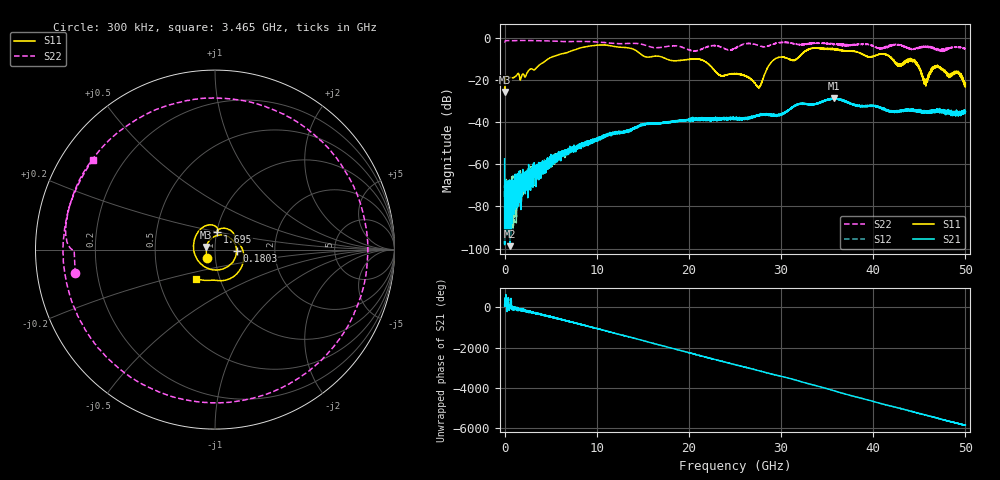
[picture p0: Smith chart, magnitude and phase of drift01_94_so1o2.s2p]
!Created with skrf (http://scikit-rf.org).
# Hz S RI R 50.0
!freq ReS11 ImS11 ReS21 ImS21 ReS12 ImS12 ReS22 ImS22
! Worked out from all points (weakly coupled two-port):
!   10001 points, 300 kHz to 50 GHz, reference 50 ohm
!   highest |S21| = -28.73 dB at 35.74 GHz (marker M1); lowest = -98.8 dB at 570.3 MHz (marker M2)
!   lowest |S11| = -25.8 dB at 5.3 MHz (marker M3), VSWR 1.11, Z = 45.3 + j1.39 ohm
!   |S11| at or under -10 dB: start of sweep to 4.771 GHz; 17.52 GHz to 29.39 GHz (11.87 GHz wide, 50.6 % of centre); 44.03 GHz to end of sweep (the widest 3 of 12)
!   |S22| runs from -6.6 to -1.4 dB; largest |S21 - S12| = 0.0041
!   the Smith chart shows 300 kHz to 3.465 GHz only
!   S11 on the Smith chart (normalised r, x): 300 kHz: 0.91, -0.08; 180.3 MHz: 1.27, -0.01; 1.695 GHz: 1.00, +0.20; 3.465 GHz: 0.77, -0.26
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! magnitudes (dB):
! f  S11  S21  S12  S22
! 300 kHz  -23.8  -57.4  -75.4  -2.0
! 5.3 MHz  -25.8  -98.1  -70.1  -2.1
! 180.3 MHz  -18.4  -69.9  -75.5  -1.4
! 570.3 MHz  -18.8  -98.8  -73.0  -1.4
! 1.695 GHz  -20.1  -66.3  -63.1  -1.4
! 3.465 GHz  -14.3  -62.8  -63.6  -1.5
! 8.335 GHz  -4.8  -51.2  -51.2  -1.8
! 16.67 GHz  -8.8  -40.3  -40.6  -4.8
! 21.2 GHz  -10.3  -39.2  -38.9  -5.8
! 23.39 GHz  -17.9  -38.5  -37.9  -4.4
! 25 GHz  -17.1  -38.0  -38.2  -5.1
! 27.59 GHz  -23.7  -36.6  -36.6  -3.8
! 29.27 GHz  -10.3  -36.7  -36.6  -2.9
! 31.45 GHz  -10.8  -32.4  -32.5  -2.9
! 33.34 GHz  -5.1  -31.6  -31.5  -2.6
! 35.74 GHz  -5.3  -28.7  -28.8  -2.9
! 41.67 GHz  -8.8  -34.8  -34.8  -4.3
! 42.74 GHz  -12.7  -35.4  -35.0  -3.4
! 44.41 GHz  -11.3  -34.6  -34.7  -5.2
! 45.63 GHz  -21.2  -35.3  -35.0  -4.4
! 46.93 GHz  -13.3  -34.8  -35.0  -5.3
! 50 GHz  -21.5  -35.1  -35.0  -5.4
